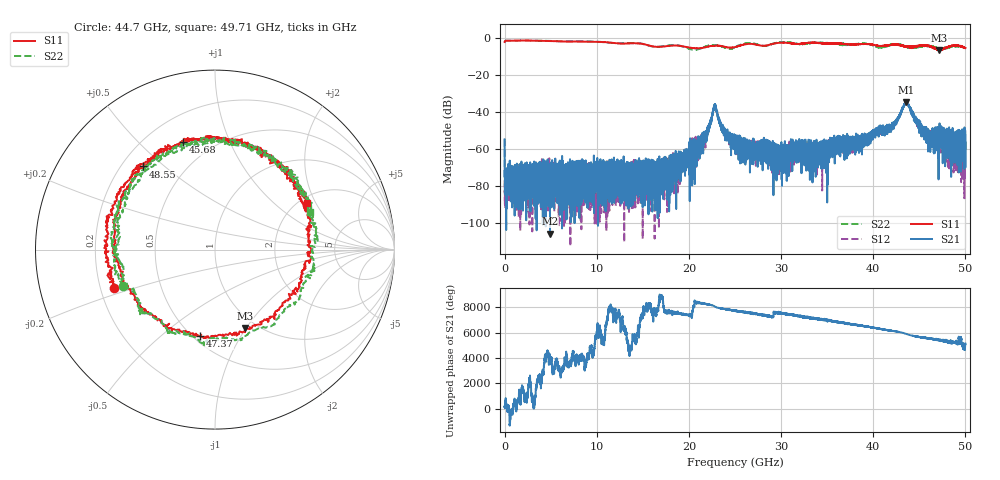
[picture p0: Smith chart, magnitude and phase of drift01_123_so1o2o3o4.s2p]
!Created with skrf (http://scikit-rf.org).
# Hz S RI R 50.0
!freq ReS11 ImS11 ReS21 ImS21 ReS12 ImS12 ReS22 ImS22
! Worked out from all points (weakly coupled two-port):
!   10001 points, 300 kHz to 50 GHz, reference 50 ohm
!   highest |S21| = -34.77 dB at 43.54 GHz (marker M1); lowest = -106.1 dB at 4.925 GHz (marker M2)
!   lowest |S11| = -6.6 dB at 47.15 GHz (marker M3), VSWR 2.76, Z = 44.1 - j49.3 ohm
!   |S11| at or under -10 dB: nowhere
!   |S22| runs from -6.4 to -1.4 dB; largest |S21 - S12| = 0.0035
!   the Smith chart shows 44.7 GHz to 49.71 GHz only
!   S11 on the Smith chart (normalised r, x): 44.7 GHz: 0.26, -0.17; 45.68 GHz: 0.35, +0.69; 47.37 GHz: 0.54, -0.69; 48.55 GHz: 0.29, +0.43; 49.71 GHz: 2.18, +1.71
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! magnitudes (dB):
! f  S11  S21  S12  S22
! 300 kHz  -2.2  -54.9  -54.8  -2.1
! 295.3 MHz  -1.4  -75.9  -74.5  -1.4
! 4.925 GHz  -1.6  -106.1  -103.8  -1.6
! 8.335 GHz  -1.9  -76.6  -103.7  -1.8
! 16.67 GHz  -4.8  -73.0  -82.3  -4.8
! 20.51 GHz  -5.5  -55.3  -55.4  -6.3
! 21.71 GHz  -5.2  -54.7  -54.2  -4.9
! 22.81 GHz  -4.3  -36.3  -36.5  -4.0
! 23.78 GHz  -4.7  -51.1  -50.1  -5.0
! 25 GHz  -5.0  -55.4  -56.3  -5.0
! 29.63 GHz  -2.7  -67.5  -60.4  -2.5
! 31.76 GHz  -3.2  -61.0  -60.3  -3.2
! 33.34 GHz  -2.6  -58.9  -58.2  -2.7
! 41.67 GHz  -3.9  -49.2  -49.4  -4.3
! 43.54 GHz  -4.8  -34.8  -35.3  -4.5
! 44.7 GHz  -4.4  -43.8  -43.7  -5.1
! 45.68 GHz  -4.1  -48.3  -51.7  -4.3
! 47.15 GHz  -6.6  -53.1  -53.1  -6.0
! 47.37 GHz  -6.2  -48.1  -51.1  -5.9
! 48.55 GHz  -4.3  -64.8  -61.2  -4.6
! 49.71 GHz  -4.8  -56.1  -63.3  -4.9
! 50 GHz  -5.5  -56.7  -52.4  -5.3
